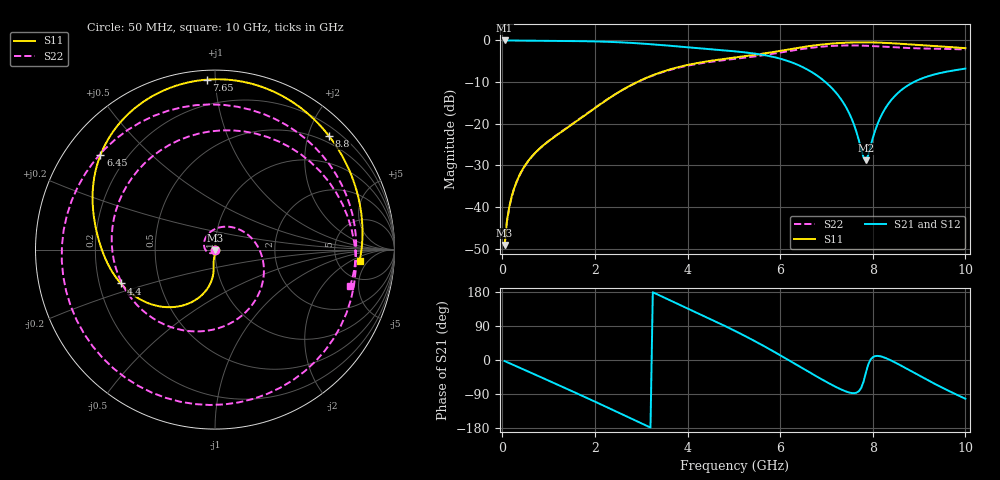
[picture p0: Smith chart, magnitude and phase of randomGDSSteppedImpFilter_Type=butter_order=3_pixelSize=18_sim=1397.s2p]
! freq	dB(S11)	phase(S11)	dB(S12)	phase(S12)
!  dB(S21)	phase(S21)	dB(S22)	phase(S22)
!S-par simulation data
#  GHz  S  DB  R 50
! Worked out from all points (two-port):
!   200 points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, 50 MHz to 10 GHz, reference 50 ohm
!   highest |S21| = 0.00 dB at 50 MHz (marker M1); lowest = -28.8 dB at 7.85 GHz (marker M2)
!   |S21| within 3 dB of the highest: start of sweep to 5.342 GHz
!   lowest |S11| = -49.2 dB at 50 MHz (marker M3), VSWR 1.01, Z = 50 - j0.348 ohm
!   |S11| at or under -10 dB: start of sweep to 2.911 GHz
!   |S22| runs from -49.4 to -1.2 dB; largest |S21 - S12| = 0
!   S11 on the Smith chart (normalised r, x): 50 MHz: 1.00, -0.01; 4.4 GHz: 0.29, -0.16; 6.45 GHz: 0.11, +0.35; 7.65 GHz: 0.05, +0.95; 8.8 GHz: 0.37, +2.38; 10 GHz: 8.24, -3.09
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0.05  -49.16 -86.6  -0.00 -2.7  -0.00 -2.7  -49.44 -92.5
0.2  -37.61 -90.6  -0.02 -10.9  -0.02 -10.9  -37.74 -108.5
0.45  -30.76 -94.3  -0.04 -24.5  -0.04 -24.5  -30.87 -135.0
1.15  -22.97 -96.2  -0.10 -62.7  -0.10 -62.7  -22.91 148.8
1.75  -18.26 -93.8  -0.18 -95.8  -0.18 -95.8  -18.17 80.7
2.65  -11.53 -106.3  -0.50 -146.8  -0.50 -146.8  -11.56 -8.3
3.4  -7.74 -128.5  -1.07 170.3  -1.07 170.3  -7.85 -71.5
3.9  -6.14 -144.7  -1.54 142.0  -1.54 142.0  -6.31 -111.8
4.4  -5.07 -160.3  -2.02 113.6  -2.02 113.6  -5.30 -152.8
5.05  -4.07 -178.7  -2.65 75.2  -2.65 75.2  -4.40 148.9
5.45  -3.47 170.6  -3.16 50.0  -3.16 50.0  -3.86 108.5
5.8  -2.87 161.1  -3.83 26.5  -3.83 26.5  -3.28 70.4
6.1  -2.30 152.2  -4.70 5.6  -4.70 5.6  -2.73 36.5
6.45  -1.65 140.6  -6.21 -19.4  -6.21 -19.4  -2.10 -3.3
6.7  -1.25 131.4  -7.72 -37.2  -7.72 -37.2  -1.72 -31.4
7.2  -0.68 111.6  -12.48 -70.9  -12.48 -70.9  -1.27 -86.5
7.65  -0.46 92.8  -22.07 -86.2  -22.07 -86.2  -1.21 -136.0
7.85  -0.45 84.3  -28.80 -34.1  -28.80 -34.1  -1.28 -158.6
8.35  -0.63 63.2  -15.02 1.4  -15.02 1.4  -1.57 143.5
8.8  -0.95 44.8  -10.52 -27.5  -10.52 -27.5  -1.83 91.9
9.4  -1.40 20.6  -7.97 -66.8  -7.97 -66.8  -2.00 31.7
10  -1.85 -4.6  -6.77 -102.2  -6.77 -102.2  -2.15 -15.2
